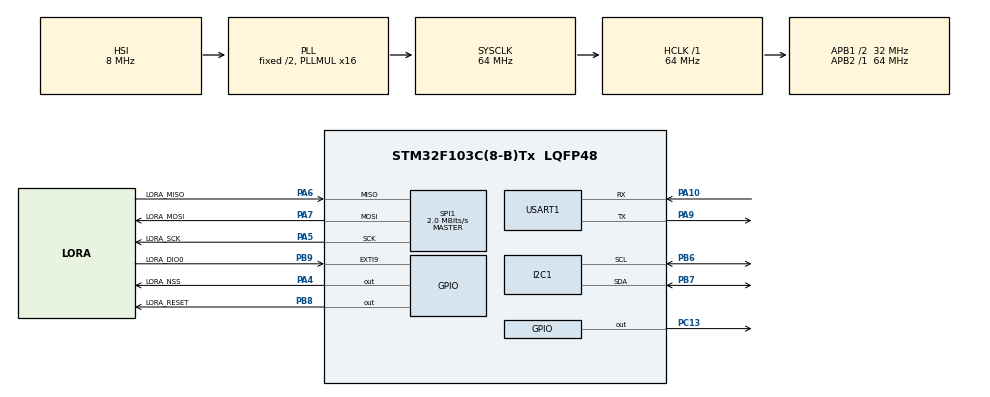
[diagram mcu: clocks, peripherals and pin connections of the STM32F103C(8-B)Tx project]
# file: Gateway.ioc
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Mcu.Family=STM32F1
Mcu.Name=STM32F103C(8-B)Tx
Mcu.Package=LQFP48
NVIC.EXTI9_5_IRQn=true\:1\:0\:true\:false\:true\:true\:true\:true
NVIC.PriorityGroup=NVIC_PRIORITYGROUP_4
NVIC.RTC_Alarm_IRQn=true\:1\:0\:true\:false\:true\:true\:true\:true
PA10.Mode=Asynchronous
PA10.Signal=USART1_RX
PA13.Mode=Serial_Wire
PA13.Signal=SYS_JTMS-SWDIO
PA14.Mode=Serial_Wire
PA14.Signal=SYS_JTCK-SWCLK
PA4.GPIO_Label=LORA_NSS
PA4.GPIO_PuPd=GPIO_PULLUP
PA4.Signal=GPIO_Output
PA5.GPIO_Label=LORA_SCK
PA5.Mode=Full_Duplex_Master
PA5.Signal=SPI1_SCK
PA6.GPIO_Label=LORA_MISO
PA6.Mode=Full_Duplex_Master
PA6.Signal=SPI1_MISO
PA7.GPIO_Label=LORA_MOSI
PA7.Mode=Full_Duplex_Master
PA7.Signal=SPI1_MOSI
PA9.Mode=Asynchronous
PA9.Signal=USART1_TX
PB6.Mode=I2C
PB6.Signal=I2C1_SCL
PB7.Mode=I2C
PB7.Signal=I2C1_SDA
PB8.GPIO_Label=LORA_RESET
PB8.GPIO_ModeDefaultOutputPP=GPIO_MODE_OUTPUT_PP
PB8.GPIO_PuPd=GPIO_PULLUP
PB8.Signal=GPIO_Output
PB9.GPIO_Label=LORA_DIO0
PB9.Signal=GPXTI9
PC13-TAMPER-RTC.GPIO_ModeDefaultOutputPP=GPIO_MODE_OUTPUT_PP
PC13-TAMPER-RTC.GPIO_PuPd=GPIO_PULLDOWN
PC13-TAMPER-RTC.PinState=GPIO_PIN_SET
PC13-TAMPER-RTC.Signal=GPIO_Output
ProjectManager.HeapSize=0x200
ProjectManager.StackSize=0x400
ProjectManager.TargetToolchain=STM32CubeIDE
RCC.AHBFreq_Value=64000000
RCC.APB1CLKDivider=RCC_HCLK_DIV2
RCC.APB1Freq_Value=32000000
RCC.APB1TimFreq_Value=64000000
RCC.APB2Freq_Value=64000000
RCC.APB2TimFreq_Value=64000000
RCC.HCLKFreq_Value=64000000
RCC.PLLMUL=RCC_PLL_MUL16
RCC.SYSCLKFreq_VALUE=64000000
RCC.SYSCLKSource=RCC_SYSCLKSOURCE_PLLCLK
RCC.USBFreq_Value=64000000
RTC.AsynchPrediv=39999
RTC.AutoPrediv=0
RTC.Format=RTC_FORMAT_BIN
RTC.WeekDay=RTC_WEEKDAY_MONDAY
SPI1.BaudRatePrescaler=SPI_BAUDRATEPRESCALER_32
SPI1.CalculateBaudRate=2.0 MBits/s
SPI1.Direction=SPI_DIRECTION_2LINES
SPI1.Mode=SPI_MODE_MASTER
SPI1.VirtualType=VM_MASTER
USART1.VirtualMode=VM_ASYNC
VP_RTC_VS_RTC_Activate.Mode=RTC_Enabled
VP_RTC_VS_RTC_Calendar.Mode=RTC_Calendar
board=custom

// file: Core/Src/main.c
/* USER CODE BEGIN Header */
/**
  ******************************************************************************
  * @file           : main.c
  * @brief          : Main program body
  ******************************************************************************
  * @attention
  *
  * Copyright (c) 2026 STMicroelectronics.
  * All rights reserved.
  *
  * This software is licensed under terms that can be found in the LICENSE file
  * in the root directory of this software component.
  * If no LICENSE file comes with this software, it is provided AS-IS.
  *
  ******************************************************************************
  */
/* USER CODE END Header */
#include "main.h"

/* USER CODE BEGIN Includes */

#include "gateway.h"
#include  "string.h"
/* USER CODE END Includes */

I2C_HandleTypeDef hi2c1;

RTC_HandleTypeDef hrtc;

SPI_HandleTypeDef hspi1;

UART_HandleTypeDef huart1;

/* USER CODE BEGIN PV */
frame_data_t frame;

gateway_state_t stt=UNJOINED;

Date date;

RTC_TimeTypeDef Time;

uint32_t   count ;

uint8_t Alarm_flag=0 ;

uint8_t Rx_done_flag=0;

uint8_t data_buff[10]={0};

uint8_t data_payload[16][7];

uint8_t unjoined_node_num=0;

uint8_t joined_node_num =0;

uint16_t bitmap=0x07;
/* USER CODE END PV */

void SystemClock_Config(void);
static void MX_GPIO_Init(void);
static void MX_I2C1_Init(void);
static void MX_RTC_Init(void);
static void MX_SPI1_Init(void);
static void MX_USART1_UART_Init(void);
/* USER CODE BEGIN PFP */
void Node_Data_Buff_Init(uint16_t bitmap, uint8_t (*data)[7])
{
  for(int i = 1; i <= 16; i++)
  {
      if((bitmap & (1U << (i-1))))
      {
          data[i-1][0]=i;
          data[i-1][1]=0;
          data[i-1][2]=0;
          data[i-1][3]=0;
          data[i-1][4]=0;
          data[i-1][5]=0;
          data[i-1][6]=MAX_JOIN_FAILURES;// load cycle
      }
  }
}

void Decrease_Missed_Cycle_Count(uint16_t bitmap, uint8_t (*data)[7])
{
    for(int i = 1; i <= 16; i++)
    {
        if(bitmap & (1U << (i - 1)))
        {
            if(data[i - 1][6] > 0)
            {
                data[i - 1][6]--;
            }
        }
    }
}

void Node_List(uint16_t *bitmap, uint8_t (*data)[7])
{
  for(int i = 1; i <= 16; i++)
  {
      if(((*bitmap & (1U << (i-1))))&&(data[i-1][6]==0))
      {
    	  // determine loosed nodes
    	  *bitmap &= (~(1U << (i-1)));
    	  data[i-1][0]=0;
    	  data[i-1][1]=0;
    	  data[i-1][2]=0;
    	  data[i-1][3]=0;
    	  data[i-1][4]=0;
    	  data[i-1][5]=0;
    	  data[i-1][6]=0;
      }
  }
}
/* USER CODE END PFP */

/* USER CODE BEGIN 0 */
void HAL_RTC_AlarmAEventCallback(RTC_HandleTypeDef *hrtc)
{
	Alarm_flag=1;
}

void HAL_GPIO_EXTI_Callback(uint16_t GPIO_Pin){
	if(GPIO_Pin==LORA_DIO0_Pin){
		Rx_done_flag=1;
	}
}
/* USER CODE END 0 */

int main(void)
{
  /* USER CODE BEGIN 1 */
	Clear_Frame(&frame);
	RTC_init(&date, 55,1,9, 4, 4, 6, 26);
  /* USER CODE END 1 */

  /* MCU Configuration--------------------------------------------------------*/

  /* Reset of all peripherals, Initializes the Flash interface and the Systick. */
  HAL_Init();

  /* Configure the system clock */
  SystemClock_Config();

  /* Initialize all configured peripherals */
  MX_GPIO_Init();
  MX_I2C1_Init();
  MX_RTC_Init();
  MX_SPI1_Init();
  MX_USART1_UART_Init();
  /* USER CODE BEGIN 2 */

  LoRa myLoRa;
  Gateway_Lora_Init(&myLoRa, &hspi1);
  Gateway_setup(&stt,&myLoRa,3);
  /*write data to DS3231 to simulate the real time */
  RTC_write_data(&hi2c1, &date, DS3231_ADDR);

  Node_Data_Buff_Init(bitmap, data_payload);

  joined_node_num= Node_Joined_Num(bitmap);

  if(stt==INIT_SUCCESS)
  {
	  	  RTC_read_data(&hi2c1, &date, DS3231_ADDR);
		  if(RTC_SetTime(&hrtc, &date, RTC_FORMAT_BIN))
		  {
			  if(RTC_SetAlarm_NextPeriod(&hrtc,120,RTC_FORMAT_BIN)==1)
			  {
				  stt= WAIT_TO_NEXT_PERIOD;
			  }
		  }
  }

  /* USER CODE END 2 */

  /* Infinite loop */
  /* USER CODE BEGIN WHILE */
  while (1)
  {

	  if(Alarm_flag==1||Rx_done_flag){
		  switch (stt)
		  {
		  	  case(UNJOINED):
		  	  case(INIT_FAIL):
		  	  case(INIT_SUCCESS):
		  			  break;

		  	  case(WAIT_TO_NEXT_PERIOD):
				  Alarm_flag=0;
		  	  	  RTC_SetAlarm(1,&hrtc,RTC_FORMAT_BIN);
		  	  	  RTC_SetTime_Calib(&hrtc, &hi2c1, &date, RTC_FORMAT_BIN);
		  	  	  Gateway_GetTime_Sync(&hrtc, &Time, RTC_FORMAT_BIN);

		  	  	  if(Gateway_GetTime_Sync(&hrtc, &Time, RTC_FORMAT_BIN)==1)
		  	  	  {
		  	  		  data_buffer_update(data_buff, &Time,0);
		  	  		  Create_Frame(&frame, beacon_frame,data_buff);
			  	  		  if(create_payload_gateway(&frame, FRAME_TYPE_BEACON,joined_node_num))
			  	  		  {
			  	  			  	  stt=TX_BEACON;
			  	  			  	  break;
			  	  				  }
			  	  			  }
		  	  	  	  stt= WAIT_TO_NEXT_PERIOD;
		  	  	  	  break;

		  	  case(TX_BEACON):
				Alarm_flag=0;
	  	  	  RTC_SetAlarm(20,&hrtc,RTC_FORMAT_BIN);
		  	    for(int i = 0; i<=17;i++)
		  	    {
			  	    Gateway_Tx_Beacon(&myLoRa,500);
		  	    	Gateway_GetTime_Sync(&hrtc, &Time, RTC_FORMAT_BIN);
		  	    	data_buffer_update(data_buff, &Time,0);
		  	    	Create_Frame(&frame, beacon_frame,data_buff);
		  	    	create_payload_gateway(&frame, FRAME_TYPE_BEACON,joined_node_num);
		  	    	HAL_Delay(900);
		  	    }

				 stt= RX_JOIN_REQUEST_INIT;
				 break;

		  	  case(RX_JOIN_REQUEST_INIT):
				 Alarm_flag=0;
		  	  // set timeout rx join request
		  	  	 if(RTC_SetAlarm(10,&hrtc,RTC_FORMAT_BIN))
		  	  	 {
			  	  	 stt=RX_JOIN_REQUEST;
			  	  	 LoRa_startReceiving(&myLoRa);
			  	  	 break;
		  	  	 }
			  	  	stt= WAIT_TO_NEXT_PERIOD;
			  	  	break;

		  	  case(RX_JOIN_REQUEST):
				  if(Rx_done_flag)
				  {
				  	  RTC_read_data(&hi2c1, &date, DS3231_ADDR);
					  Rx_done_flag=0;
					  Gateway_Rx_JoinReq(&myLoRa, &frame);
					  HAL_NVIC_DisableIRQ(EXTI9_5_IRQn);
					  if(Gateway_Get_UID(&frame))
					  {
						  unjoined_node_num++;
					  }
					  HAL_NVIC_EnableIRQ(EXTI9_5_IRQn);
					  break;
				  }

				  if(Alarm_flag)
				  {
					  Alarm_flag = 0;
				  	  RTC_read_data(&hi2c1, &date, DS3231_ADDR);
					  if(RTC_SetAlarm(3,&hrtc,RTC_FORMAT_BIN))
					  {
						  LoRa_gotoMode(&myLoRa, STNBY_MODE);
						  stt= TX_REQUEST_RESPONSE_INIT;
						  break;
					  }
				  	  	stt= WAIT_TO_NEXT_PERIOD;
				  	  	break;
				   }

		  	  case(TX_REQUEST_RESPONSE_INIT):
		  			Alarm_flag=0;
		  	  	  	if(Create_JoinAccept_Frame( &frame, unjoined_node_num, bitmap))
		  	  	  	{
			  	  	  	RTC_SetAlarm(2,&hrtc, RTC_FORMAT_BIN);

		  	  	  		if(create_payload_gateway(&frame, FRAME_TYPE_JOIN_RESPONSE, unjoined_node_num))
		  	  	  		{
		  	  	  			stt=TX_REQUEST_RESPONSE;
		  	  	  			break;
		  	  	  		}
		  	  	  	}
		  	  	  	RTC_SetAlarm(7,&hrtc, RTC_FORMAT_BIN);
		  	  	  	stt= WAIT_TO_RX_DATA;

		  	  	  	break;

		  	  case(TX_REQUEST_RESPONSE):
				  	Alarm_flag=0;
				  	RTC_SetAlarm(8,&hrtc, RTC_FORMAT_BIN);
				  	stt= RX_DATA;
				  	uint8_t trial=3;
				  	uint32_t current_tick=HAL_GetTick();
				  	while(trial--)
				  	{
				  		if(HAL_GetTick()-current_tick>=1000)
				  		{
						  	Gateway_Tx_JoinResponse(&myLoRa,unjoined_node_num,2000);
						  	current_tick = HAL_GetTick();
				  		}
				  	}
				  	stt=WAIT_TO_RX_DATA;
				  	break;

		  	  case(WAIT_TO_RX_DATA):
				Alarm_flag=0;
		  	  // TDMA set timeout for first time slot
		  	  	 if(RTC_SetAlarm(45,&hrtc,RTC_FORMAT_BIN))
		  	  	 {
//				  	 Decrease_Missed_Cycle_Count(bitmap,data_payload);
			  	  	 stt=RX_DATA;
			  	  	 LoRa_startReceiving(&myLoRa);
			  	  	 RTC_read_data(&hi2c1, &date, DS3231_ADDR);
			  	  	  Gateway_GetTime_Sync(&hrtc, &Time, RTC_FORMAT_BIN);
			  	  	 break;
		  	  	 }
			  	  	stt= WAIT_TO_NEXT_PERIOD;
			  	  	break;

		  	  case(RX_DATA):
						if(Rx_done_flag)
						{
							Rx_done_flag=0;
							if(Gateway_Rx_Data(&myLoRa, &frame, bitmap)==1)
							{
								Gateway_Get_Data(&frame, data_payload);
								HAL_GPIO_WritePin(GPIOC, GPIO_PIN_13,1);
						  	  	LoRa_startReceiving(&myLoRa);
								break;
							}
							break;
						}
						if(Alarm_flag)
						{

							Alarm_flag = 0;

//							if(joined_node_num!=0)
//							{
//								if(--joined_node_num>0)
//								{
//									HAL_GPIO_WritePin(GPIOC, GPIO_PIN_13,0);
//									stt= RX_DATA;
//									RTC_SetAlarm(10,&hrtc,RTC_FORMAT_BIN);
//									RTC_read_data(&hi2c1, &date, DS3231_ADDR);
//							  	  	  Gateway_GetTime_Sync(&hrtc, &Time, RTC_FORMAT_BIN);
//									break;
//								}
//							}
							LoRa_gotoMode(&myLoRa, STNBY_MODE);
					  	  	RTC_read_data(&hi2c1, &date, DS3231_ADDR);
							stt= HANDLE_DATA;
							RTC_SetAlarm(2,&hrtc,RTC_FORMAT_BIN);
							break;
						}

		  	  case(HANDLE_DATA):
		  			  Alarm_flag=0;
		  	  	RTC_read_data(&hi2c1, &date, DS3231_ADDR);
		  	  	  	  RTC_SetAlarm(2,&hrtc,RTC_FORMAT_BIN);
		  				char tx_buf[64];

		  			for(int i = 0; i < Node_Joined_Num(bitmap); i++)
		  			{
		  				if(data_payload[i][0]!=0){
		  				sprintf(tx_buf,
		            "ID:%u T:%u.%u H:%u M:%u CRC:%u Num:%u\r\n",
		            data_payload[i][0],
		            data_payload[i][1],
		            data_payload[i][2],
		            data_payload[i][3],
		            data_payload[i][4],
		            data_payload[i][5],
					data_payload[i][6]);
		  				HAL_UART_Transmit(&huart1,(uint8_t *)tx_buf,strlen(tx_buf),1000);
		  				}
		  			}
				stt=NETWORK_MAINTAIN;
				break;

		  	  case(NETWORK_MAINTAIN):
	  			  Alarm_flag=0;
		  	  	  for(int i=0;i<unjoined_node_num;i++)
		  	  	  {
		  	  		  bitmap= set_first_empty_TimeSlot(bitmap);
		  	  	  }

		  	  	Node_Data_Buff_Init(bitmap, data_payload);

		  	  	  Node_List(&bitmap, data_payload);

		  	  	  joined_node_num= Node_Joined_Num(bitmap);

		  	  	  stt=WAIT_TO_NEXT_PERIOD;
		  	  	  RTC_read_data(&hi2c1, &date, DS3231_ADDR);
		  	  	  RTC_SetTime_Calib(&hrtc, &hi2c1, &date, 0);
		  	  	  RTC_SetAlarm_NextPeriod(&hrtc, 120, RTC_FORMAT_BIN);
		  	  	  Gateway_GetTime_Sync(&hrtc, &Time, RTC_FORMAT_BIN);
		  	  	  break;
		  	  }

	  }
    /* USER CODE END WHILE */

  }
}

void SystemClock_Config(void)
{
  RCC_OscInitTypeDef RCC_OscInitStruct = {0};
  RCC_ClkInitTypeDef RCC_ClkInitStruct = {0};
  RCC_PeriphCLKInitTypeDef PeriphClkInit = {0};

  /** Initializes the RCC Oscillators according to the specified parameters
  * in the RCC_OscInitTypeDef structure.
  */
  RCC_OscInitStruct.OscillatorType = RCC_OSCILLATORTYPE_HSI|RCC_OSCILLATORTYPE_LSI;
  RCC_OscInitStruct.HSIState = RCC_HSI_ON;
  RCC_OscInitStruct.HSICalibrationValue = RCC_HSICALIBRATION_DEFAULT;
  RCC_OscInitStruct.LSIState = RCC_LSI_ON;
  RCC_OscInitStruct.PLL.PLLState = RCC_PLL_ON;
  RCC_OscInitStruct.PLL.PLLSource = RCC_PLLSOURCE_HSI_DIV2;
  RCC_OscInitStruct.PLL.PLLMUL = RCC_PLL_MUL16;
  if (HAL_RCC_OscConfig(&RCC_OscInitStruct) != HAL_OK)
  {
    Error_Handler();
  }

  /** Initializes the CPU, AHB and APB buses clocks
  */
  RCC_ClkInitStruct.ClockType = RCC_CLOCKTYPE_HCLK|RCC_CLOCKTYPE_SYSCLK
                              |RCC_CLOCKTYPE_PCLK1|RCC_CLOCKTYPE_PCLK2;
  RCC_ClkInitStruct.SYSCLKSource = RCC_SYSCLKSOURCE_PLLCLK;
  RCC_ClkInitStruct.AHBCLKDivider = RCC_SYSCLK_DIV1;
  RCC_ClkInitStruct.APB1CLKDivider = RCC_HCLK_DIV2;
  RCC_ClkInitStruct.APB2CLKDivider = RCC_HCLK_DIV1;

  if (HAL_RCC_ClockConfig(&RCC_ClkInitStruct, FLASH_LATENCY_2) != HAL_OK)
  {
    Error_Handler();
  }
  PeriphClkInit.PeriphClockSelection = RCC_PERIPHCLK_RTC;
  PeriphClkInit.RTCClockSelection = RCC_RTCCLKSOURCE_LSI;
  if (HAL_RCCEx_PeriphCLKConfig(&PeriphClkInit) != HAL_OK)
  {
    Error_Handler();
  }
}

static void MX_I2C1_Init(void)
{

  hi2c1.Instance = I2C1;
  hi2c1.Init.ClockSpeed = 100000;
  hi2c1.Init.DutyCycle = I2C_DUTYCYCLE_2;
  hi2c1.Init.OwnAddress1 = 0;
  hi2c1.Init.AddressingMode = I2C_ADDRESSINGMODE_7BIT;
  hi2c1.Init.DualAddressMode = I2C_DUALADDRESS_DISABLE;
  hi2c1.Init.OwnAddress2 = 0;
  hi2c1.Init.GeneralCallMode = I2C_GENERALCALL_DISABLE;
  hi2c1.Init.NoStretchMode = I2C_NOSTRETCH_DISABLE;
  if (HAL_I2C_Init(&hi2c1) != HAL_OK)
  {
    Error_Handler();
  }

}

static void MX_RTC_Init(void)
{

  RTC_TimeTypeDef sTime = {0};
  RTC_DateTypeDef DateToUpdate = {0};

  /** Initialize RTC Only
  */
  hrtc.Instance = RTC;
  hrtc.Init.AsynchPrediv = 39999;
  hrtc.Init.OutPut = RTC_OUTPUTSOURCE_ALARM;
  if (HAL_RTC_Init(&hrtc) != HAL_OK)
  {
    Error_Handler();
  }

  /** Initialize RTC and set the Time and Date
  */
  sTime.Hours = 0;
  sTime.Minutes = 0;
  sTime.Seconds = 0;

  if (HAL_RTC_SetTime(&hrtc, &sTime, RTC_FORMAT_BIN) != HAL_OK)
  {
    Error_Handler();
  }
  DateToUpdate.WeekDay = RTC_WEEKDAY_MONDAY;
  DateToUpdate.Month = RTC_MONTH_JANUARY;
  DateToUpdate.Date = 1;
  DateToUpdate.Year = 0;

  if (HAL_RTC_SetDate(&hrtc, &DateToUpdate, RTC_FORMAT_BIN) != HAL_OK)
  {
    Error_Handler();
  }

}

static void MX_SPI1_Init(void)
{

  /* SPI1 parameter configuration*/
  hspi1.Instance = SPI1;
  hspi1.Init.Mode = SPI_MODE_MASTER;
  hspi1.Init.Direction = SPI_DIRECTION_2LINES;
  hspi1.Init.DataSize = SPI_DATASIZE_8BIT;
  hspi1.Init.CLKPolarity = SPI_POLARITY_LOW;
  hspi1.Init.CLKPhase = SPI_PHASE_1EDGE;
  hspi1.Init.NSS = SPI_NSS_SOFT;
  hspi1.Init.BaudRatePrescaler = SPI_BAUDRATEPRESCALER_32;
  hspi1.Init.FirstBit = SPI_FIRSTBIT_MSB;
  hspi1.Init.TIMode = SPI_TIMODE_DISABLE;
  hspi1.Init.CRCCalculation = SPI_CRCCALCULATION_DISABLE;
  hspi1.Init.CRCPolynomial = 10;
  if (HAL_SPI_Init(&hspi1) != HAL_OK)
  {
    Error_Handler();
  }

}

static void MX_USART1_UART_Init(void)
{

  huart1.Instance = USART1;
  huart1.Init.BaudRate = 115200;
  huart1.Init.WordLength = UART_WORDLENGTH_8B;
  huart1.Init.StopBits = UART_STOPBITS_1;
  huart1.Init.Parity = UART_PARITY_NONE;
  huart1.Init.Mode = UART_MODE_TX_RX;
  huart1.Init.HwFlowCtl = UART_HWCONTROL_NONE;
  huart1.Init.OverSampling = UART_OVERSAMPLING_16;
  if (HAL_UART_Init(&huart1) != HAL_OK)
  {
    Error_Handler();
  }

}

static void MX_GPIO_Init(void)
{
  GPIO_InitTypeDef GPIO_InitStruct = {0};

  /* GPIO Ports Clock Enable */
  __HAL_RCC_GPIOC_CLK_ENABLE();
  __HAL_RCC_GPIOA_CLK_ENABLE();
  __HAL_RCC_GPIOB_CLK_ENABLE();

  /*Configure GPIO pin Output Level */
  HAL_GPIO_WritePin(GPIOC, GPIO_PIN_13, GPIO_PIN_SET);

  /*Configure GPIO pin Output Level */
  HAL_GPIO_WritePin(LORA_NSS_GPIO_Port, LORA_NSS_Pin, GPIO_PIN_RESET);

  /*Configure GPIO pin Output Level */
  HAL_GPIO_WritePin(LORA_RESET_GPIO_Port, LORA_RESET_Pin, GPIO_PIN_RESET);

  /*Configure GPIO pin : PC13 */
  GPIO_InitStruct.Pin = GPIO_PIN_13;
  GPIO_InitStruct.Mode = GPIO_MODE_OUTPUT_PP;
  GPIO_InitStruct.Pull = GPIO_PULLDOWN;
  GPIO_InitStruct.Speed = GPIO_SPEED_FREQ_LOW;
  HAL_GPIO_Init(GPIOC, &GPIO_InitStruct);

  /*Configure GPIO pin : LORA_NSS_Pin */
  GPIO_InitStruct.Pin = LORA_NSS_Pin;
  GPIO_InitStruct.Mode = GPIO_MODE_OUTPUT_PP;
  GPIO_InitStruct.Pull = GPIO_PULLUP;
  GPIO_InitStruct.Speed = GPIO_SPEED_FREQ_LOW;
  HAL_GPIO_Init(LORA_NSS_GPIO_Port, &GPIO_InitStruct);

  /*Configure GPIO pin : LORA_RESET_Pin */
  GPIO_InitStruct.Pin = LORA_RESET_Pin;
  GPIO_InitStruct.Mode = GPIO_MODE_OUTPUT_PP;
  GPIO_InitStruct.Pull = GPIO_PULLUP;
  GPIO_InitStruct.Speed = GPIO_SPEED_FREQ_LOW;
  HAL_GPIO_Init(LORA_RESET_GPIO_Port, &GPIO_InitStruct);

  /*Configure GPIO pin : LORA_DIO0_Pin */
  GPIO_InitStruct.Pin = LORA_DIO0_Pin;
  GPIO_InitStruct.Mode = GPIO_MODE_IT_RISING;
  GPIO_InitStruct.Pull = GPIO_NOPULL;
  HAL_GPIO_Init(LORA_DIO0_GPIO_Port, &GPIO_InitStruct);

  /* EXTI interrupt init*/
  HAL_NVIC_SetPriority(EXTI9_5_IRQn, 1, 0);
  HAL_NVIC_EnableIRQ(EXTI9_5_IRQn);

/* USER CODE BEGIN MX_GPIO_Init_2 */
  HAL_NVIC_SetPriority(RTC_Alarm_IRQn, 4, 0);
  HAL_NVIC_EnableIRQ(RTC_Alarm_IRQn);

  HAL_NVIC_SetPriority(SysTick_IRQn, 3, 0);
  HAL_NVIC_EnableIRQ(SysTick_IRQn);
/* USER CODE END MX_GPIO_Init_2 */
}

void Error_Handler(void)
{
  /* USER CODE BEGIN Error_Handler_Debug */
  /* User can add his own implementation to report the HAL error return state */
  __disable_irq();
  while (1)
  {
	  for(int i=0;i<10;i++){
		  uint16_t t=10000;
		  HAL_GPIO_TogglePin(GPIOC, GPIO_PIN_13);
		  while(t--){
			  ;
		  }
	  }
	  break;
  }
  /* USER CODE END Error_Handler_Debug */
}
